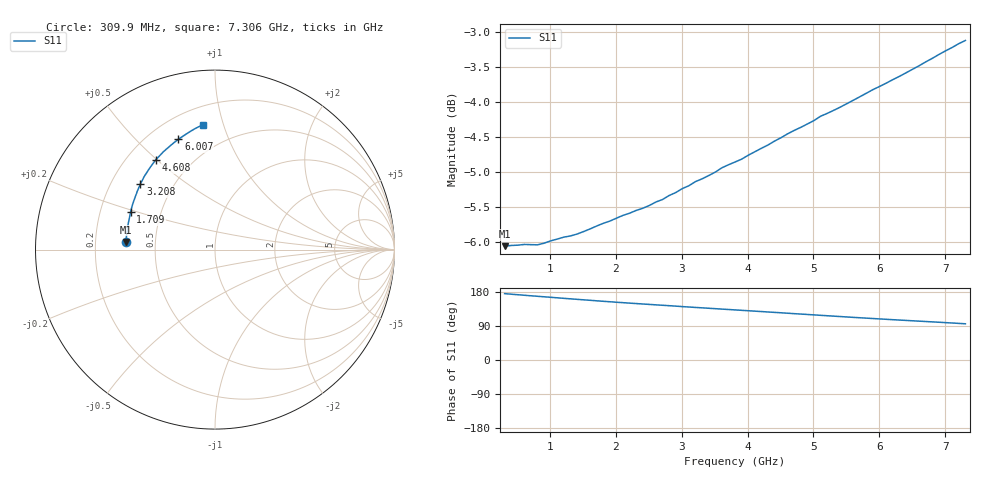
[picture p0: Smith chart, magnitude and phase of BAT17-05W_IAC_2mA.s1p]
! Infineon Technologies  Discrete & RF Semiconductors
! BAT17-05W
! IAC = 2 mA
! One-Port S-Parameters
# Hz  S  MA  R  50
!f  S11
!Hz  Mag  Ang
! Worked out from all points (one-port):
!   71 points, 309.9 MHz to 7.306 GHz, reference 50 ohm
!   lowest |S11| = -6.1 dB at 309.9 MHz (marker M1), VSWR 2.98, Z = 16.8 + j1.9 ohm
!   |S11| at or under -10 dB: nowhere
!   S11 on the Smith chart (normalised r, x): 309.9 MHz: 0.34, +0.04; 1.709 GHz: 0.33, +0.19; 3.208 GHz: 0.32, +0.34; 4.608 GHz: 0.32, +0.50; 6.007 GHz: 0.32, +0.67; 7.306 GHz: 0.32, +0.86
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3.0985e8  0.4978 175.1
6.097e8  0.4992 170.8
8.096e8  0.4989 168.1
1.0095e9  0.5022 165.4
1.2094e9  0.5053 162.7
1.4093e9  0.5078 160.1
1.70915e9  0.5146 156.2
2.10895e9  0.5237 151.3
2.50875e9  0.5323 146.7
2.8086e9  0.541 143.3
2.90855e9  0.5436 142.2
3.0085e9  0.5472 140.9
3.2084e9  0.5535 138.7
3.4083e9  0.559 136.6
3.6082e9  0.5662 134.3
3.8081e9  0.5716 132.2
3.90805e9  0.5743 131.1
4.10795e9  0.5813 128.9
4.6077e9  0.5987 123.4
4.70765e9  0.6021 122.3
5.0075e9  0.6119 119.0
5.10745e9  0.6162 117.9
5.6072e9  0.6327 112.5
6.007e9  0.6472 108.4
6.50675e9  0.6657 103.5
6.90655e9  0.6821 99.6
7.10645e9  0.69 97.6
7.30635e9  0.6979 95.6
